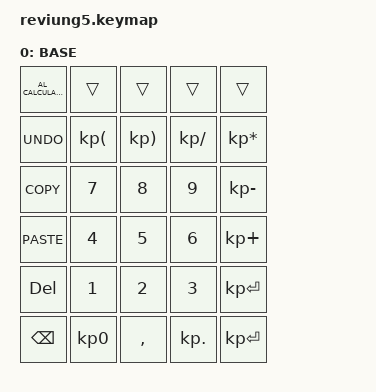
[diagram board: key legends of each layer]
/*
 * Copyright (c) 2024
 * SPDX-License-Identifier: MIT
 */

#include <behaviors.dtsi>
#include <dt-bindings/zmk/keys.h>
#include <dt-bindings/zmk/bt.h>
#include <dt-bindings/zmk/outputs.h>

 / {
  keymap {
    compatible = "zmk,keymap";

    base_layer {
      display-name = "BASE";
      bindings = <
        /* Row 0 */ &kp C_AL_CALCULATOR  &trans                &trans                &trans          &trans
        /* Row 1 */ &kp C_UNDO           &kp KP_LEFT_PARENTHESIS  &kp KP_RIGHT_PARENTHESIS  &kp KP_DIVIDE   &kp KP_MULTIPLY
        /* Row 2 */ &kp C_COPY           &kp N7                &kp N8                &kp N9          &kp KP_MINUS
        /* Row 3 */ &kp C_PASTE          &kp N4                &kp N5                &kp N6          &kp KP_PLUS
        /* Row 4 */ &kp DEL              &kp N1                &kp N2                &kp N3          &kp KP_ENTER
        /* Row 5 */ &kp BSPC             &kp KP_N0             &kp COMMA             &kp KP_DOT      &kp KP_ENTER
      >;
    };
  };
};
